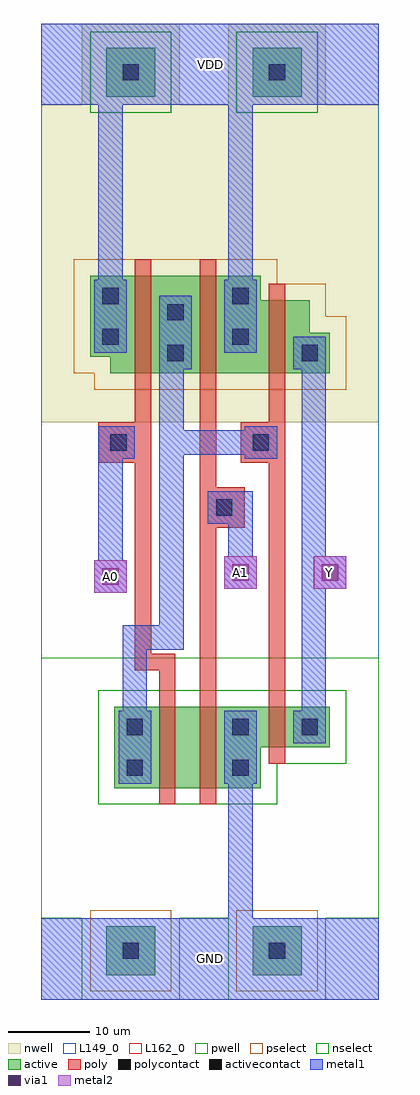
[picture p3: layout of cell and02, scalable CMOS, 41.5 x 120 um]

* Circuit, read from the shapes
.subckt and02 A0 A1 GND VDD Y
M1 n1 A0 n2 GND nfet w=10u l=2u
M2 GND A1 n1 GND nfet w=10u l=2u
M3 Y n2 GND GND nfet w=5u l=2u
M4 n2 A0 VDD VDD pfet w=12u l=2u
M5 VDD A1 n2 VDD pfet w=12u l=2u
M6 Y n2 VDD VDD pfet w=9u l=2u
.ends

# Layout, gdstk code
import gdstk
lib = gdstk.Library(unit=1e-6, precision=1e-09)
def R(c, l, rs):  # rectangles x0, y0, x1, y1
    for r in rs: c.add(gdstk.rectangle(r[:2], r[2:], *l))
def P(c, l, *ps):  # polygons
    for p in ps: c.add(gdstk.Polygon(p, *l))
pwell = (41, 0)
nwell = (42, 0)
active = (43, 0)
pselect = (44, 0)
nselect = (45, 0)
poly = (46, 0)
polycontact = (47, 0)
activecontact = (48, 0)
metal1 = (49, 0)
via1 = (50, 0)
metal2 = (51, 0)
L149_0 = (149, 0)
L162_0 = (162, 0)

pwell_contact = lib.new_cell('pwell_contact')
R(pwell_contact, pwell, [(-6,-6,6,5)])
R(pwell_contact, active, [(-3,-3,3,3)])
R(pwell_contact, pselect, [(-5,-5,5,5)])
R(pwell_contact, activecontact, [(-1,-1,1,1)])

nwell_contact = lib.new_cell('nwell_contact')
R(nwell_contact, nwell, [(-6,-5,6,6)])
R(nwell_contact, active, [(-3,-3,3,3)])
R(nwell_contact, nselect, [(-5,-5,5,5)])
R(nwell_contact, activecontact, [(-1,-1,1,1)])

via = lib.new_cell('via')
R(via, metal1, [(-2,-2,2,2)])
R(via, via1, [(-1,-1,1,1)])
R(via, metal2, [(-2,-2,2,2)])

and02 = lib.new_cell('and02')
R(and02, pwell, [(0,10,41.5,20), (0,10,41.5,42)])
P(and02, pwell, [(3,20),(33,20),(33,25),(41.5,25),(41.5,42),(3,42)])
R(and02, nwell, [(0,71,41.5,110), (0,95,41.5,110)])
P(and02, nwell, [(0,73),(2.5,73),(2.5,71),(41.5,71),(41.5,88),(39,88),(39,92),(33,92),(33,95),(0,95)])
P(and02, active, [(9,26),(27,26),(27,31),(35.5,31),(35.5,36),(9,36)],
  [(6,79),(8.5,79),(8.5,77),(35.5,77),(35.5,82),(33,82),(33,86),(27,86),(27,89),(6,89)])
P(and02, pselect, [(4,77),(6.5,77),(6.5,75),(37.5,75),(37.5,84),(35,84),(35,88),(29,88),(29,91),(4,91)])
P(and02, nselect, [(7,24),(29,24),(29,29),(37.5,29),(37.5,38),(7,38)])
R(and02, poly, [(14.5,24,16.5,26), (19.5,24,21.5,26), (14.5,26,16.5,36), (19.5,26,21.5,36), (28,29,30,31), (28,31,30,36), (14.5,36,16.5,38), (19.5,36,21.5,38), (28,36,30,38), (20,58,25,63), (7,66,12,71), (24.5,66,29.5,71), (11.5,75,13.5,77), (19.5,75,21.5,77), (28,75,30,77), (11.5,77,13.5,89), (19.5,77,21.5,89), (28,77,30,86), (28,86,30,88), (11.5,89,13.5,91), (19.5,89,21.5,91)])
R(and02, polycontact, [(21.5,59.5,23.5,61.5), (8.5,67.5,10.5,69.5), (26,67.5,28,69.5)])
R(and02, activecontact, [(10.5,27.5,12.5,29.5), (23.5,27.5,25.5,29.5), (10.5,32.5,12.5,34.5), (23.5,32.5,25.5,34.5), (32,32.5,34,34.5), (15.5,78.5,17.5,80.5), (32,78.5,34,80.5), (7.5,80.5,9.5,82.5), (23.5,80.5,25.5,82.5), (15.5,83.5,17.5,85.5), (7.5,85.5,9.5,87.5), (23.5,85.5,25.5,87.5)])
R(and02, metal1, [(0,0,41.5,10), (0,0,41.5,10), (9.5,26.5,13.5,35.5), (22.5,26.5,26.5,35.5), (31,31.5,35,35.5), (20.5,58.5,24.5,62.5), (7.5,66.5,11.5,70.5), (25,66.5,29,70.5), (14.5,77.5,18.5,86.5), (31,77.5,35,81.5), (6.5,79.5,10.5,88.5), (22.5,79.5,26.5,88.5), (0,110,41.5,120), (0,110,41.5,120)])
R(and02, metal2, [(6.5,50,10.5,54), (22.5,50.5,26.5,54.5), (33.5,50.5,37.5,54.5)])
R(and02, L149_0, [(0,0,41.5,10), (0,0,41.5,120), (20.5,58.5,24.5,62.5), (7.5,66.5,11.5,70.5), (25,66.5,29,70.5), (0,110,41.5,120)])
R(and02, L162_0, [(6.5,50,10.5,54), (22.5,50.5,26.5,54.5), (33.5,50.5,37.5,54.5)])
and02.add(gdstk.FlexPath([(24.5,54.5),(24.5,62.5)], 3, ends="flush", simple_path=True, layer=149, datatype=0))  # L149_0
and02.add(gdstk.FlexPath([(24.5,26.5),(24.5,10)], 3, ends="flush", simple_path=True, layer=149, datatype=0))  # L149_0
and02.add(gdstk.FlexPath([(24.5,88.5),(24.5,110)], 3, ends="flush", simple_path=True, layer=149, datatype=0))  # L149_0
and02.add(gdstk.FlexPath([(8.5,88.5),(8.5,110)], 3, ends="flush", simple_path=True, layer=149, datatype=0))  # L149_0
and02.add(gdstk.FlexPath([(33.5,77.5),(33.5,35.5)], 3, ends="flush", simple_path=True, layer=149, datatype=0))  # L149_0
and02.add(gdstk.FlexPath([(8.5,54),(8.5,70.5)], 3, ends="flush", simple_path=True, layer=149, datatype=0))  # L149_0
and02.add(gdstk.FlexPath([(25,68.5),(17.5,68.5)], 3, ends="flush", simple_path=True, layer=149, datatype=0))  # L149_0
and02.add(gdstk.FlexPath([(16,77.5),(16,44.5),(11.5,44.5),(11.5,35.5)], 3, ends="flush", simple_path=True, layer=149, datatype=0))  # L149_0
and02.add(gdstk.FlexPath([(12.5,75),(12.5,41.5),(15.5,41.5),(15.5,38)], 2, ends="flush", simple_path=True, layer=46, datatype=0))  # poly
and02.add(gdstk.FlexPath([(29,75),(29,66)], 2, ends="flush", simple_path=True, layer=46, datatype=0))  # poly
and02.add(gdstk.FlexPath([(20.5,75),(20.5,38)], 2, ends="flush", simple_path=True, layer=46, datatype=0))  # poly
and02.add(gdstk.FlexPath([(28,67.5),(29,67.5),(29,38)], 2, ends="flush", simple_path=True, layer=46, datatype=0))  # poly
and02.add(gdstk.FlexPath([(24.5,54.5),(24.5,62.5)], 3, ends="flush", simple_path=True, layer=49, datatype=0))  # metal1
and02.add(gdstk.FlexPath([(24.5,26.5),(24.5,10)], 3, ends="flush", simple_path=True, layer=49, datatype=0))  # metal1
and02.add(gdstk.FlexPath([(24.5,88.5),(24.5,110)], 3, ends="flush", simple_path=True, layer=49, datatype=0))  # metal1
and02.add(gdstk.FlexPath([(8.5,88.5),(8.5,110)], 3, ends="flush", simple_path=True, layer=49, datatype=0))  # metal1
and02.add(gdstk.FlexPath([(33.5,77.5),(33.5,35.5)], 3, ends="flush", simple_path=True, layer=49, datatype=0))  # metal1
and02.add(gdstk.FlexPath([(8.5,54),(8.5,70.5)], 3, ends="flush", simple_path=True, layer=49, datatype=0))  # metal1
and02.add(gdstk.FlexPath([(25,68.5),(17.5,68.5)], 3, ends="flush", simple_path=True, layer=49, datatype=0))  # metal1
and02.add(gdstk.FlexPath([(16,77.5),(16,44.5),(11.5,44.5),(11.5,35.5)], 3, ends="flush", simple_path=True, layer=49, datatype=0))  # metal1
and02.add(gdstk.Reference(pwell_contact, (29,6)))
and02.add(gdstk.Reference(pwell_contact, (11,6)))
and02.add(gdstk.Reference(nwell_contact, (29,114)))
and02.add(gdstk.Reference(nwell_contact, (11,114)))
and02.add(gdstk.Reference(via, (8.5,52)))
and02.add(gdstk.Reference(via, (35.5,52.5)))
and02.add(gdstk.Reference(via, (24.5,52.5)))
and02.add(gdstk.Label('Y', (35.5,52.5), layer=3, texttype=0))
and02.add(gdstk.Label('A1', (24.5,52.5), layer=3, texttype=0))
and02.add(gdstk.Label('A0', (8.5,52), layer=3, texttype=0))
and02.add(gdstk.Label('GND', (20.75,5), layer=2, texttype=0))
and02.add(gdstk.Label('VDD', (20.75,115), layer=2, texttype=0))

lib.write_gds('and02.gds')
